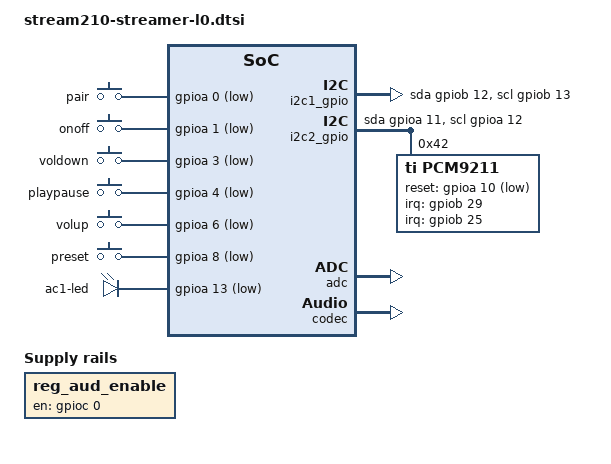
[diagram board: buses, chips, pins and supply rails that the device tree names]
#include <dt-bindings/input/input.h>
#include <dt-bindings/sound/pcm9211.h>

/ {
	sue {
		carrierboard = "stream210streamer";
	};

	aliases {
		i2c1 = &i2c1_gpio;
		i2c2 = &i2c2_gpio;
	};

	reg_aud_enable: reg-aud-enable {
		compatible = "regulator-fixed";
		regulator-name = "aud-enable";
		gpio = <&gpioc 0 GPIO_ACTIVE_HIGH>;
		enable-active-high;
	};

	clk_pcm9211_xti: clk-pcm9211-xti {
		compatible = "fixed-clock";
		#clock-cells = <0>;
		clock-frequency = <24576000>;
		clock-output-names = "xti";
	};

	gpio-keys {
		compatible = "gpio-keys";
		pinctrl-names = "default";
		pinctrl-0 = <&buttons_pins>;

		pair {
			label = "pair";
			gpios = <&gpioa 0 GPIO_ACTIVE_LOW>;
			linux,input-type = <EV_KEY>;
			linux,code = <KEY_BLUETOOTH>;
		};

		onoff {
			label = "onoff";
			gpios = <&gpioa 1 GPIO_ACTIVE_LOW>;
			linux,input-type = <EV_KEY>;
			linux,code = <KEY_SLEEP>;
		};

		voldown {
			label = "voldown";
			gpios = <&gpioa 3 GPIO_ACTIVE_LOW>;
			linux,input-type = <EV_KEY>;
			linux,code = <KEY_VOLUMEDOWN>;
		};

		playpause {
			label = "playpause";
			gpios = <&gpioa 4 GPIO_ACTIVE_LOW>;
			linux,input-type = <EV_KEY>;
			linux,code = <KEY_PLAYPAUSE>;
		};

		volup {
			label = "volup";
			gpios = <&gpioa 6 GPIO_ACTIVE_LOW>;
			linux,input-type = <EV_KEY>;
			linux,code = <KEY_VOLUMEUP>;
		};

		preset {
			label = "preset";
			gpios = <&gpioa 8 GPIO_ACTIVE_LOW>;
			linux,input-type = <EV_KEY>;
			linux,code = <BTN_1>;
		};
	};

	i2c1_gpio: i2c1_gpio {
		compatible = "i2c-gpio";

		#address-cells = <1>;
		#size-cells = <0>;

		pinctrl-names = "default";
		pinctrl-0 = <&i2c1_gpio_pins>;

		sda-gpios = <&gpiob 12 (GPIO_ACTIVE_HIGH | GPIO_OPEN_DRAIN)>;
		scl-gpios = <&gpiob 13 (GPIO_ACTIVE_HIGH | GPIO_OPEN_DRAIN)>;
		i2c-gpio,delay-us = <2>;

		status = "okay";
	};

	i2c2_gpio: i2c2_gpio {
		compatible = "i2c-gpio";

		#address-cells = <1>;
		#size-cells = <0>;

		pinctrl-names = "default";
		pinctrl-0 = <&i2c2_gpio_pins>;

		sda-gpios = <&gpioa 11 (GPIO_ACTIVE_HIGH | GPIO_OPEN_DRAIN)>;
		scl-gpios = <&gpioa 12 (GPIO_ACTIVE_HIGH | GPIO_OPEN_DRAIN)>;
		i2c-gpio,delay-us = <2>;

		status = "okay";
	};

	leds {
		compatible = "gpio-leds";

		pinctrl-names = "default";
		pinctrl-0 = <&ac1_led_pins>;

		led_ac1 {
			label = "ac1-led";
			gpios = <&gpioa 13 GPIO_ACTIVE_LOW>;
			default-state = "off";
		};
	};

	sue-hsmp {
		compatible = "sue,hsmp-rtk-mcu-ipc";
		status = "okay";

		state-controller {
			compatible = "sue,hsmp-state-controller";
			status = "okay";
		};

		gpio_hsmp: gpio {
			gpio-controller;
			#gpio-cells = <2>;
			compatible = "sue,hsmp-gpio";
			status = "okay";
		};
	};

};

&adc {
	pinctrl-names = "default";
	pinctrl-0 = <&adc_pins_streamer>;
	status = "okay";
	rtk,adc-channels = <2>;
};

&codec {
	status = "okay";
	enable-dac-asrc;
};

&i2c2_gpio {
	pcm9211: pcm9211@42 {
		compatible = "ti,pcm9211";
		reg = <0x42>;
		#sound-dai-cells = <1>;

		pinctrl-names = "default";
		pinctrl-0 = <&pcm9211_pins>;

		reset-gpios = <&gpioa 10 GPIO_ACTIVE_LOW>;

		clock-names = "xti";
		clocks = <&clk_pcm9211_xti>;

		interrupt-names = "int0", "int1";
		interrupts-extended = <&gpiob 29 IRQ_TYPE_EDGE_FALLING>, <&gpiob 25 IRQ_TYPE_EDGE_FALLING>;

		// Configure MPIO groups
		// - MPIO_A: Biphase Input Extension (RXIN8 to RXIN11)
		// - MPIO_B: AUXOUT
		// - MPIO_C: DIT Standalone Operation, Clock, and Data I/O, TXSCK/TXBCK/TXLRCK/TXDIN
		ti,group-function = /bits/ 8 <
			PCM9211_MPIO_A_GROUP_BIPHASE_INPUT
			PCM9211_MPIO_B_GROUP_AUXOUT
			PCM9211_MPIO_C_GROUP_DIT_CLOCK_DATA
		>;

		// - MPIO_A:	0xF => All Hi-Z
		// - MPIO_B:	0x7 => Set Hi-Z for B0, B1, B2
		// - MPIO_C:	0x0 => All driven
		// - MAIN_OUT:	0x0 => All driven
		ti,hiz-mask = /bits/ 8 <0xF 0x7 0x0 0x0>;
	};
};

&pinctrl {
	adc_pins_streamer: adc_pins_streamer {
		pins {
			pinmux = <REALTEK_PINMUX('A', 2, GPIO)>;
			bias-disable;
		};
	};

	buttons_pins: buttons_pins {
		pins {
			pinmux = <REALTEK_PINMUX('A', 0, GPIO)>,	// PAIR
				 <REALTEK_PINMUX('A', 1, GPIO)>,	// ON/OFF
				 <REALTEK_PINMUX('A', 3, GPIO)>,	// VOL-
				 <REALTEK_PINMUX('A', 4, GPIO)>,	// PLAY/PAUSE
				 <REALTEK_PINMUX('A', 6, GPIO)>,	// VOL+
				 <REALTEK_PINMUX('A', 8, GPIO)>;	// PRESET
			bias-pull-up;
		};
	};

	i2c1_gpio_pins: i2c1_gpios {
		pins {
			pinmux = <REALTEK_PINMUX('B', 12, GPIO)>,	 // I2C1_SDA
					<REALTEK_PINMUX('B', 13, GPIO)>; // I2C1_SCL
			bias-pull-up;
		};
	};

	i2c2_gpio_pins: i2c2_gpios {
		pins {
			pinmux = <REALTEK_PINMUX('A', 11, GPIO)>,	// I2C1_SDA
				 <REALTEK_PINMUX('A', 12, GPIO)>;	// I2C1_SCL
			bias-pull-up;
		};
	};

	i2s2_pins_streamer: i2s2_pins_streamer {
		pins {
			pinmux = <REALTEK_PINMUX('A', 16, I2S2)>,
				 <REALTEK_PINMUX('B', 17, I2S2)>,
				 <REALTEK_PINMUX('B', 21, I2S2)>;
		};
	};

	i2s3_pins_streamer: i2s3_pins_streamer {
		pins {
			pinmux = <REALTEK_PINMUX('B', 7, I2S3)>,
				 <REALTEK_PINMUX('B', 8, I2S3)>,
				 <REALTEK_PINMUX('B', 9, I2S3)>,
				 <REALTEK_PINMUX('B', 10, I2S3)>;
		};
	};

	ac1_led_pins: ac1_led_pins {
		pins {
			pinmux = <REALTEK_PINMUX('A', 13, GPIO)>;
			bias-pull-up;
			swd-disable;
		};
	};

	pcm9211_pins: pcm9211_pins {
		pins {
			pinmux = <REALTEK_PINMUX('A', 10, GPIO)>,	// RESET_N_9211
				 <REALTEK_PINMUX('B', 29, GPIO)>;	// SPDIFRX_ERROR (INT0)
		};
	};
};

&sound {
	amp-supply = <&reg_aud_enable>;
	amp_mute-gpio = <&gpio_hsmp 0 GPIO_ACTIVE_LOW>;
	hp_mute-gpio = <&gpio_hsmp 1 GPIO_ACTIVE_LOW>;

	// SPORT2 I2S -> 0: pcm9211-main-hifi
	// SPORT3 I2S -> 2: pcm9211-dit-hifi
	sue,audio-codec = <&pcm9211 0>, <&pcm9211 2>;
};

// I2S input from the PCM9211 from the ADC, clock slave
&sport2 {
	pinctrl-names = "default";
	pinctrl-0 = <&i2s2_pins_streamer>;

	rtk,sport-multi-io = <1>;
	rtk,sport-mode = <1>;
	rtk,sport-mclk-multiplier = <256>;
};

// I2S output to PCM9211 for S/PDIF Tx, clock master
&sport3 {
	pinctrl-names = "default";
	pinctrl-0 = <&i2s3_pins_streamer>;

	rtk,sport-multi-io = <1>;
	rtk,sport-mode = <0>;
	// This settings makes sure that the MCLK always runs at 24.576 MHz or 22.5792 MHz.
	rtk,sport-mclk-fixed-max = <24576000>;

	sue,continuous-clock;
};
